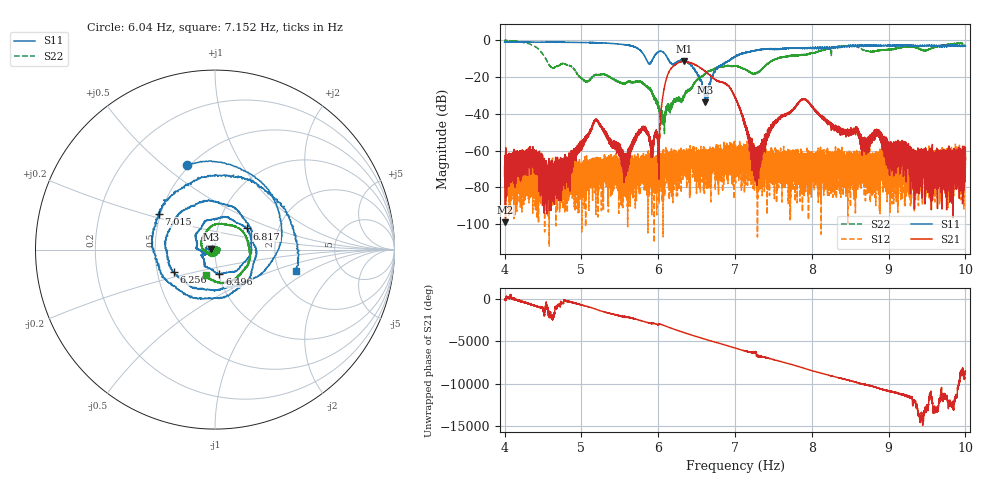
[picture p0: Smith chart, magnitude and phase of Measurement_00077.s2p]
!Created with skrf (http://scikit-rf.org).
# Hz S RI R 50.0
!freq ReS11 ImS11 ReS21 ImS21 ReS12 ImS12 ReS22 ImS22
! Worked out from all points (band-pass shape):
!   14001 points, 4 Hz to 10 Hz, reference 50 ohm
!   highest |S21| = -11.34 dB at 6.338 Hz (marker M1); lowest = -99.0 dB at 4.012 Hz (marker M2)
!   |S21| within 3 dB of the highest: 6.19 Hz to 6.526 Hz (335.6 mHz wide, 5.28 % of centre)
!   lowest |S11| = -33.7 dB at 6.61 Hz (marker M3), VSWR 1.04, Z = 48 + j0.345 ohm
!   |S11| at or under -10 dB: 5.84 Hz to 5.933 Hz (92.81 mHz wide, 1.58 % of centre); 5.933264 Hz to 5.933325 Hz (60.55 uHz wide, 0.00102 % of centre); 6.124 Hz to 6.958 Hz (834.2 mHz wide, 12.8 % of centre)
!   |S22| runs from -50.8 to -0.2 dB; largest |S21 - S12| = 0.27
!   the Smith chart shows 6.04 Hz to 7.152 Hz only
!   S11 on the Smith chart (normalised r, x): 6.04 Hz: 0.48, +0.61; 6.256 Hz: 0.61, -0.17; 6.496 Hz: 1.01, -0.28; 6.817 Hz: 1.39, +0.34; 7.015 Hz: 0.49, +0.23; 7.152 Hz: 2.47, -0.77
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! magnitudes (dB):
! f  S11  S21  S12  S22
! 4 Hz  -1.1  -73.9  -74.2  -0.3
! 4.012 Hz  -1.1  -99.0  -76.2  -0.2
! 4.615 Hz  -1.1  -65.2  -76.1  -15.0
! 5 Hz  -1.3  -56.4  -69.9  -20.9
! 5.19 Hz  -1.4  -43.4  -67.1  -18.8
! 5.571 Hz  -2.5  -66.8  -74.8  -23.4
! 5.781 Hz  -6.2  -48.8  -64.5  -23.0
! 6 Hz  -6.4  -60.2  -63.6  -36.2
! 6.04 Hz  -6.1  -37.6  -63.7  -39.8
! 6.256 Hz  -11.7  -12.4  -66.6  -32.2
! 6.338 Hz  -11.2  -11.3  -68.5  -31.0
! 6.496 Hz  -17.2  -13.7  -61.9  -21.9
! 6.61 Hz  -33.7  -16.8  -67.2  -18.1
! 6.817 Hz  -13.4  -22.8  -67.2  -14.5
! 7 Hz  -9.0  -30.9  -63.8  -14.1
! 7.015 Hz  -8.6  -32.5  -64.0  -14.0
! 7.152 Hz  -6.6  -47.9  -61.7  -16.4
! 7.289 Hz  -5.4  -60.8  -62.6  -17.5
! 7.539 Hz  -4.8  -43.9  -75.0  -10.2
! 8 Hz  -4.4  -35.8  -67.6  -6.9
! 9 Hz  -3.0  -61.2  -76.5  -5.1
! 10 Hz  -3.3  -63.9  -67.7  -3.1
